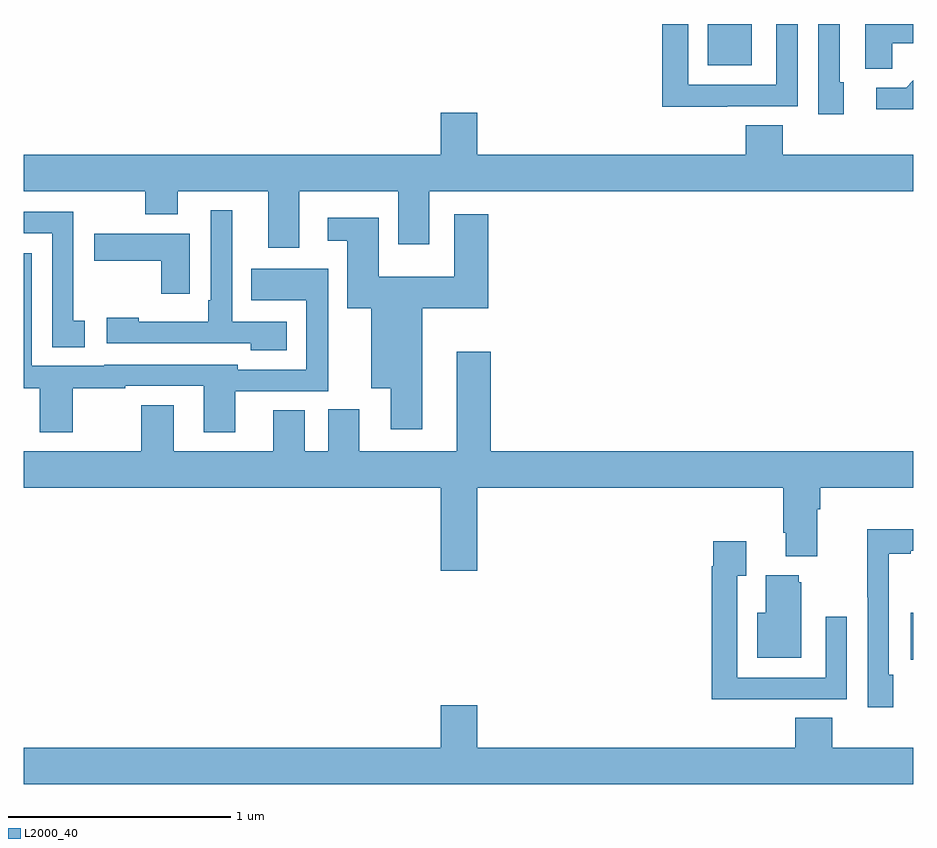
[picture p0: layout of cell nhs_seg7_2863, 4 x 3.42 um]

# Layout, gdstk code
import gdstk
lib = gdstk.Library(unit=1e-6, precision=1e-09)
def R(c, l, rs):  # rectangles x0, y0, x1, y1
    for r in rs: c.add(gdstk.rectangle(r[:2], r[2:], *l))
def P(c, l, *ps):  # polygons
    for p in ps: c.add(gdstk.Polygon(p, *l))
L2000_40 = (2000, 40)

nhs_seg7_2863 = lib.new_cell('nhs_seg7_2863')
R(nhs_seg7_2863, L2000_40, [(298.988,1033.142,299,1033.354), (298.076,1035.815,298.273,1036)])
P(nhs_seg7_2863, L2000_40, [(298.905,1035.914),(299,1035.914),(299,1036),(298.784,1036),(298.784,1035.799),(298.905,1035.799)],
  [(298.687,1035.738),(298.668,1035.738),(298.668,1036),(298.572,1036),(298.572,1035.594),(298.687,1035.594)],
  [(298.163,1035.63),(298.479,1035.63),(298.479,1036),(298.383,1036),(298.383,1035.726),(297.987,1035.726),(297.987,1036),(297.871,1036),(297.871,1035.629),(298.163,1035.629)],
  [(299,1035.747),(298.967,1035.714),(298.833,1035.714),(298.833,1035.617),(299,1035.617)],
  [(296.239,1035.248),(296.684,1035.248),(296.684,1035.009),(296.824,1035.009),(296.824,1035.248),(299,1035.248),(299,1035.412),(298.412,1035.412),(298.412,1035.545),(298.247,1035.545),(298.247,1035.412),(297.04,1035.412),(297.04,1035.601),(296.876,1035.601),(296.876,1035.412),(295,1035.412),(295,1035.248),(295.546,1035.248),(295.546,1035.146),(295.693,1035.146),(295.693,1035.248),(296.099,1035.248),(296.099,1034.994),(296.239,1034.994)],
  [(296.182,1034.661),(295.938,1034.661),(295.938,1035.163),(295.842,1035.163),(295.842,1034.758),(295.83,1034.758),(295.83,1034.661),(295.518,1034.661),(295.518,1034.68),(295.374,1034.68),(295.374,1034.565),(296.021,1034.565),(296.021,1034.534),(296.182,1034.534)],
  [(295.276,1034.667),(295.224,1034.667),(295.224,1035.156),(295,1035.156),(295,1035.06),(295.128,1035.06),(295.128,1034.548),(295.276,1034.548)],
  [(296.791,1034.723),(297.089,1034.723),(297.089,1035.145),(296.936,1035.145),(296.936,1034.863),(296.596,1034.863),(296.596,1035.13),(296.367,1035.13),(296.367,1035.026),(296.456,1035.026),(296.456,1034.723),(296.564,1034.723),(296.564,1034.363),(296.651,1034.363),(296.651,1034.178),(296.791,1034.178)],
  [(295.747,1035.058),(295.317,1035.058),(295.317,1034.936),(295.618,1034.936),(295.618,1034.787),(295.747,1034.787)],
  [(295.951,1034.349),(296.369,1034.349),(296.369,1034.899),(296.023,1034.899),(296.023,1034.759),(296.271,1034.759),(296.271,1034.445),(295.962,1034.445),(295.962,1034.469),(295.362,1034.469),(295.362,1034.463),(295.038,1034.463),(295.038,1034.97),(295,1034.97),(295,1034.362),(295.073,1034.362),(295.073,1034.166),(295.221,1034.166),(295.221,1034.362),(295.458,1034.362),(295.458,1034.373),(295.811,1034.373),(295.811,1034.165),(295.951,1034.165)],
  [(297.04,1033.916),(298.415,1033.916),(298.415,1033.714),(298.427,1033.714),(298.427,1033.607),(298.567,1033.607),(298.567,1033.82),(298.58,1033.82),(298.58,1033.916),(299,1033.916),(299,1034.08),(297.101,1034.08),(297.101,1034.527),(296.948,1034.527),(296.948,1034.08),(296.509,1034.08),(296.509,1034.268),(296.369,1034.268),(296.369,1034.08),(296.263,1034.08),(296.263,1034.264),(296.123,1034.264),(296.123,1034.08),(295.675,1034.08),(295.675,1034.287),(295.528,1034.287),(295.528,1034.08),(295,1034.08),(295,1033.916),(296.876,1033.916),(296.876,1033.542),(297.04,1033.542)],
  [(298.909,1033.074),(298.89,1033.074),(298.89,1033.62),(298.987,1033.62),(298.987,1033.632),(299,1033.632),(299,1033.73),(298.792,1033.73),(298.792,1033.423),(298.794,1033.423),(298.794,1032.93),(298.909,1032.93)],
  [(298.385,1032.966),(298.701,1032.966),(298.701,1033.336),(298.605,1033.336),(298.605,1033.062),(298.209,1033.062),(298.209,1033.519),(298.249,1033.519),(298.249,1033.675),(298.101,1033.675),(298.101,1033.562),(298.093,1033.562),(298.093,1032.965),(298.385,1032.965)],
  [(298.495,1033.491),(298.484,1033.491),(298.484,1033.522),(298.337,1033.522),(298.337,1033.354),(298.298,1033.354),(298.298,1033.151),(298.495,1033.151)],
  [(299,1032.748),(298.634,1032.748),(298.634,1032.881),(298.469,1032.881),(298.469,1032.748),(297.04,1032.748),(297.04,1032.937),(296.876,1032.937),(296.876,1032.748),(295,1032.748),(295,1032.584),(299,1032.584)])

lib.write_gds('nhs_seg7_2863.gds')
